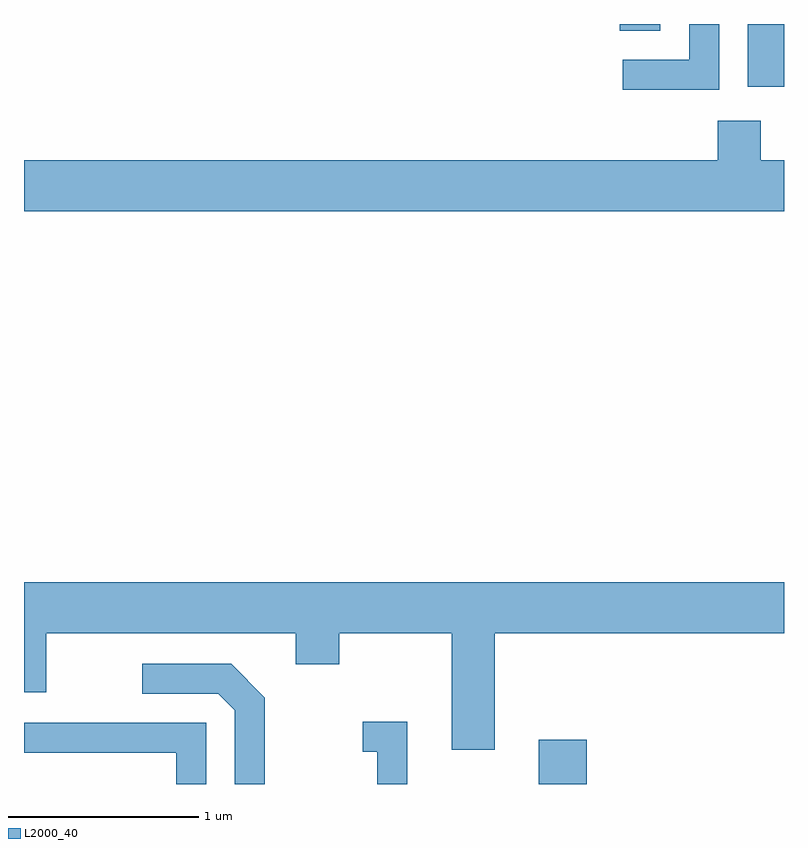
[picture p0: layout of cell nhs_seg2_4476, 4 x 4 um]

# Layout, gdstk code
import gdstk
lib = gdstk.Library(unit=1e-6, precision=1e-09)
def R(c, l, rs):  # rectangles x0, y0, x1, y1
    for r in rs: c.add(gdstk.rectangle(r[:2], r[2:], *l))
def P(c, l, *ps):  # polygons
    for p in ps: c.add(gdstk.Polygon(p, *l))
L2000_40 = (2000, 40)

nhs_seg2_4476 = lib.new_cell('nhs_seg2_4476')
R(nhs_seg2_4476, L2000_40, [(320.321,989.802,320.574,990.034), (321.421,993.471,321.611,993.802), (320.746,993.766,320.959,993.802)])
P(nhs_seg2_4476, L2000_40, [(321.269,993.802),(321.111,993.802),(321.111,993.614),(320.763,993.614),(320.763,993.456),(321.269,993.456)],
  [(321.611,993.084),(321.489,993.084),(321.489,993.294),(321.261,993.294),(321.261,993.084),(317.611,993.084),(317.611,992.816),(321.611,992.816)],
  [(320.089,990.596),(321.611,990.596),(321.611,990.864),(317.611,990.864),(317.611,990.286),(317.729,990.286),(317.729,990.596),(319.041,990.596),(319.041,990.431),(319.269,990.431),(319.269,990.596),(319.861,990.596),(319.861,989.981),(320.089,989.981)],
  [(318.879,990.257),(318.702,990.434),(318.233,990.434),(318.233,990.276),(318.634,990.276),(318.721,990.189),(318.721,989.802),(318.879,989.802)],
  [(319.629,990.129),(319.393,990.129),(319.393,989.971),(319.471,989.971),(319.471,989.802),(319.629,989.802)],
  [(318.569,990.124),(317.611,990.124),(317.611,989.966),(318.411,989.966),(318.411,989.802),(318.569,989.802)])

lib.write_gds('nhs_seg2_4476.gds')
